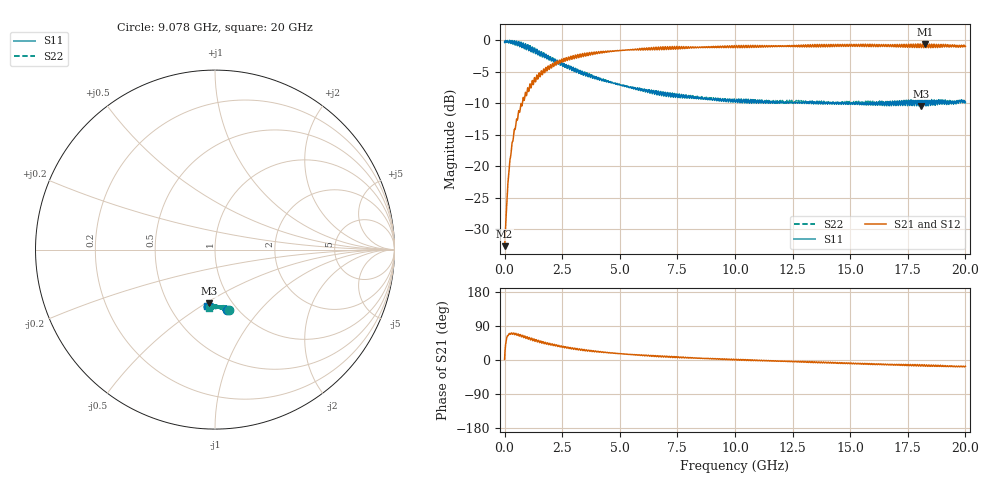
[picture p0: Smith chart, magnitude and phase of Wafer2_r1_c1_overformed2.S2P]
!  2-Port S-parameters saved by WinCal
! VAR NAME=Wafer2_r1_c1_overformed2
! VAR DATE=24/04/2024 15:55:31
! VAR FILENAME=Wafer2_r1_c1_overformed2.S2P
! VAR MeasName=S-Parameters (CALIBRATED_DATA) read from VNA (P5004A)
! VAR MeasDate=24/04/2024 15:54:44
! VAR PHYS_PORTS=1,2
! VAR ObjTypeName=DATASET
! VAR IndexType=Frequency
# Hz S MA R 50
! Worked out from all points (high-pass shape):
!   4999 points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, 4.01 MHz to 20 GHz, reference 50 ohm
!   highest |S21| = -0.61 dB at 18.24 GHz (marker M1); lowest = -32.7 dB at 4.01 MHz (marker M2)
!   |S21| within 3 dB of the highest: 2.348 GHz to 2.424 GHz (76.03 MHz wide, 3.19 % of centre); 2.433 GHz to end of sweep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
!   lowest |S11| = -10.4 dB at 18.09 GHz (marker M3), VSWR 1.86, Z = 39.3 - j25.8 ohm
!   |S11| at or under -10 dB: 14.96639 GHz to 15.0315 GHz (65.11 MHz wide, 0.434 % of centre); 15.36454 GHz to 15.43221 GHz (67.67 MHz wide, 0.439 % of centre); 15.56261 GHz to 15.63296 GHz (70.34 MHz wide, 0.451 % of centre)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
!   |S22| runs from -10.2 to -0.1 dB; largest |S21 - S12| = 0.014
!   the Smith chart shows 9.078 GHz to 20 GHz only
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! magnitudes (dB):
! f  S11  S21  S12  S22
! 4.01 MHz  -0.3  -32.7  -32.6  -0.3
! 60.02 MHz  -0.2  -28.6  -28.7  -0.1
! 144 MHz  -0.1  -22.9  -23.0  -0.1
! 188 MHz  -0.4  -21.2  -21.1  -0.4
! 248.1 MHz  -0.3  -18.8  -18.8  -0.3
! 324.1 MHz  -0.1  -16.4  -16.4  -0.1
! 424.1 MHz  -0.1  -14.2  -14.2  -0.1
! 536.1 MHz  -0.5  -12.6  -12.6  -0.5
! 668.1 MHz  -1.0  -11.3  -11.3  -1.0
! 836.2 MHz  -1.0  -9.4  -9.4  -1.0
! 1.248 GHz  -2.0  -7.1  -7.0  -2.0
! 1.756 GHz  -2.7  -5.0  -5.0  -2.7
! 2.428 GHz  -4.0  -3.6  -3.6  -4.0
! 3.341 GHz  -5.3  -2.5  -2.5  -5.3
! 4.797 GHz  -6.9  -1.7  -1.7  -6.8
! 6.673 GHz  -8.1  -1.1  -1.1  -8.2
! 10 GHz  -9.7  -1.1  -1.2  -9.6
! 13.33 GHz  -9.9  -1.0  -1.0  -9.8
! 16.67 GHz  -10.3  -0.9  -0.9  -9.8
! 18.09 GHz  -10.4  -1.2  -1.2  -10.0
! 18.24 GHz  -9.5  -0.6  -0.6  -9.6
! 20 GHz  -9.9  -1.0  -1.0  -9.6
